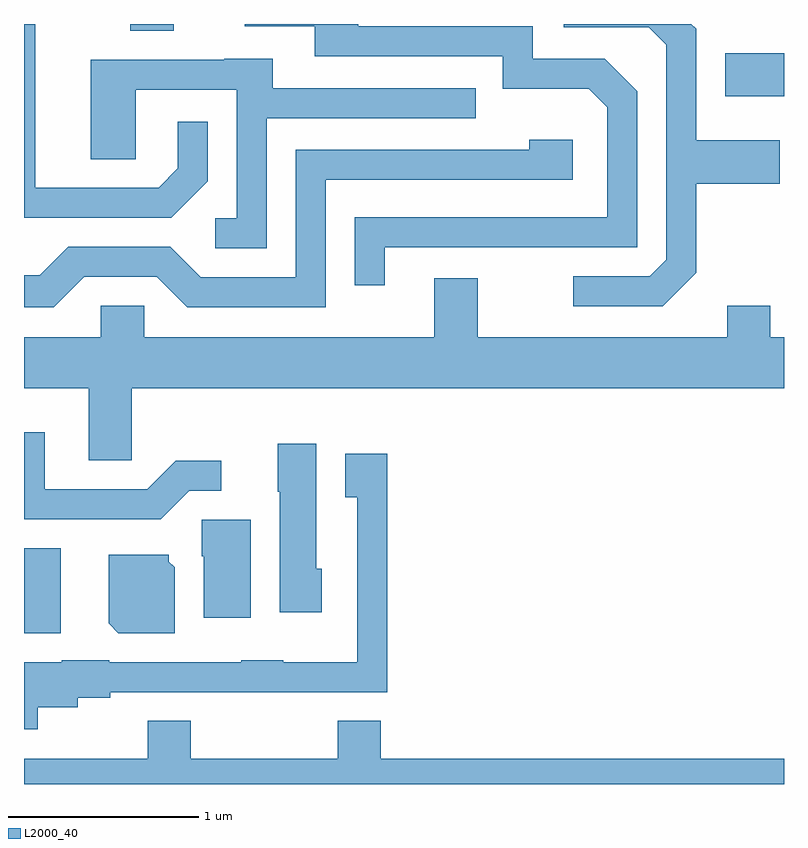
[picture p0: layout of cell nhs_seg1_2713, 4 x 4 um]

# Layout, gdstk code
import gdstk
lib = gdstk.Library(unit=1e-6, precision=1e-09)
def R(c, l, rs):  # rectangles x0, y0, x1, y1
    for r in rs: c.add(gdstk.rectangle(r[:2], r[2:], *l))
def P(c, l, *ps):  # polygons
    for p in ps: c.add(gdstk.Polygon(p, *l))
L2000_40 = (2000, 40)

nhs_seg1_2713 = lib.new_cell('nhs_seg1_2713')
R(nhs_seg1_2713, L2000_40, [(267.611,900.506,267.804,900.954), (271.301,903.331,271.611,903.559), (268.171,903.676,268.399,903.712)])
P(nhs_seg1_2713, L2000_40, [(269.509,902.536),(270.839,902.536),(270.839,903.357),(270.667,903.529),(270.289,903.529),(270.289,903.699),(269.369,903.699),(269.369,903.712),(268.773,903.712),(268.773,903.701),(269.141,903.701),(269.141,903.541),(270.131,903.541),(270.131,903.371),(270.584,903.371),(270.681,903.274),(270.681,902.694),(269.351,902.694),(269.351,902.338),(269.509,902.338)],
  [(271.149,902.404),(271.149,902.871),(271.589,902.871),(271.589,903.099),(271.149,903.099),(271.149,903.687),(271.124,903.712),(270.453,903.712),(270.453,903.696),(270.899,903.696),(270.991,903.604),(270.991,902.472),(270.904,902.384),(270.503,902.384),(270.503,902.226),(270.972,902.226)],
  [(268.579,902.884),(268.579,903.198),(268.421,903.198),(268.421,902.952),(268.319,902.849),(267.669,902.849),(267.669,903.712),(267.611,903.712),(267.611,902.691),(268.387,902.691)],
  [(268.889,903.216),(269.988,903.216),(269.988,903.374),(268.919,903.374),(268.919,903.529),(268.665,903.529),(268.665,903.524),(267.961,903.524),(267.961,903.001),(268.199,903.001),(268.199,903.366),(268.731,903.366),(268.731,902.689),(268.618,902.689),(268.618,902.531),(268.889,902.531)],
  [(267.927,902.381),(268.309,902.381),(268.469,902.221),(269.199,902.221),(269.199,902.891),(270.499,902.891),(270.499,903.104),(270.271,903.104),(270.271,903.049),(269.041,903.049),(269.041,902.379),(268.542,902.379),(268.382,902.539),(267.844,902.539),(267.694,902.389),(267.611,902.389),(267.611,902.221),(267.767,902.221)],
  [(268.179,901.796),(271.611,901.796),(271.611,902.064),(271.539,902.064),(271.539,902.229),(271.311,902.229),(271.311,902.064),(269.999,902.064),(269.999,902.374),(269.771,902.374),(269.771,902.064),(268.244,902.064),(268.244,902.229),(268.016,902.229),(268.016,902.064),(267.611,902.064),(267.611,901.796),(267.951,901.796),(267.951,901.416),(268.179,901.416)],
  [(268.482,901.256),(268.648,901.256),(268.648,901.414),(268.409,901.414),(268.259,901.264),(267.719,901.264),(267.719,901.564),(267.611,901.564),(267.611,901.106),(268.332,901.106)],
  [(269.179,900.844),(269.149,900.844),(269.149,901.504),(268.946,901.504),(268.946,901.25),(268.956,901.25),(268.956,900.616),(269.179,900.616)],
  [(267.684,900.116),(267.894,900.116),(267.894,900.166),(268.064,900.166),(268.064,900.196),(269.524,900.196),(269.524,901.449),(269.301,901.449),(269.301,901.221),(269.366,901.221),(269.366,900.354),(268.975,900.354),(268.975,900.364),(268.755,900.364),(268.755,900.354),(268.06,900.354),(268.06,900.364),(267.81,900.364),(267.81,900.354),(267.611,900.354),(267.611,900.001),(267.684,900.001)],
  [(268.804,901.104),(268.546,901.104),(268.546,900.91),(268.556,900.91),(268.556,900.586),(268.804,900.586)],
  [(268.404,900.852),(268.374,900.882),(268.374,900.919),(268.056,900.919),(268.056,900.557),(268.107,900.506),(268.404,900.506)],
  [(271.611,899.844),(269.489,899.844),(269.489,900.044),(269.261,900.044),(269.261,899.844),(268.489,899.844),(268.489,900.044),(268.261,900.044),(268.261,899.844),(267.611,899.844),(267.611,899.712),(271.611,899.712)])

lib.write_gds('nhs_seg1_2713.gds')
